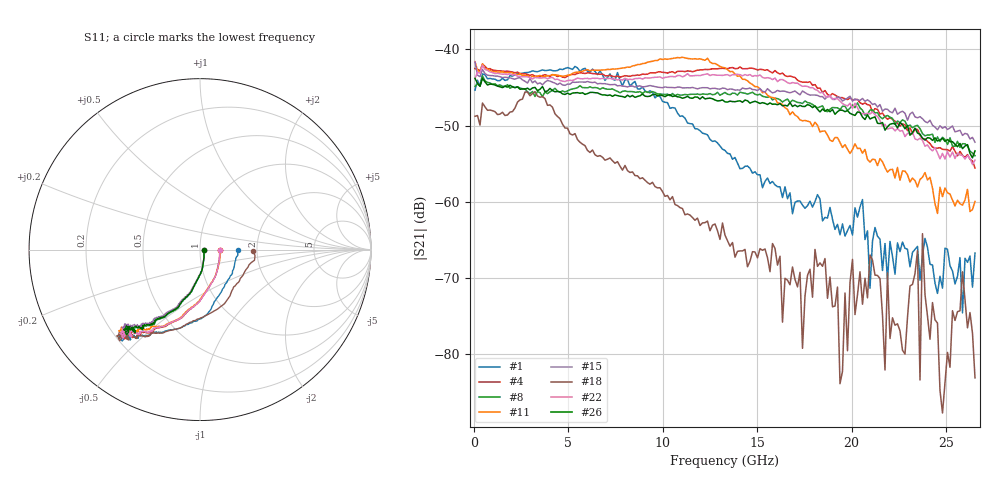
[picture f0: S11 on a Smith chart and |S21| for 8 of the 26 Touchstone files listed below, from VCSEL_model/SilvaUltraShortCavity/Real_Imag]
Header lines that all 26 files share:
!  2-Port S-parameters saved by WinCal
! VAR MeasName=S-Parameters (CALIBRATED_DATA) read from VNA (C)
! VAR PHYS_PORTS=2,1
! VAR ObjTypeName=DATASET
! VAR IndexType=Frequency
# Hz S RI R 50
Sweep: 45 MHz to 26.55 GHz
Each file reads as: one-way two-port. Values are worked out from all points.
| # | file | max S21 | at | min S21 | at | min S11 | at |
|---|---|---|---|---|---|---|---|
| 1 | M6079_2_7_3_2_20C_1.5mA_-17.5dBm.S2P | -42.23 dB | 5.345 GHz | -74.6 dB | 25.88 GHz | -13.3 dB | 575 MHz |
| 2 | M6079_2_7_3_2_20C_2.1mA_-17.5dBm.S2P | -40.38 dB | 9.32 GHz | -64.7 dB | 26.02 GHz | -15.5 dB | 45 MHz |
| 3 | M6079_2_7_3_2_20C_2.9mA_-17.5dBm.S2P | -40.57 dB | 45 MHz | -58.2 dB | 26.55 GHz | -17.0 dB | 45 MHz |
| 4 | M6079_2_7_3_2_20C_3.8mA_-17.5dBm.S2P | -41.93 dB | 442.5 MHz | -55.6 dB | 26.55 GHz | -18.8 dB | 45 MHz |
| 5 | M6079_2_7_3_2_20C_4.8mA_-17.5dBm.S2P | -41.71 dB | 442.5 MHz | -52.7 dB | 26.55 GHz | -21.0 dB | 45 MHz |
| 6 | M6079_2_7_3_2_20C_6.0mA_-17.5dBm.S2P | -40.97 dB | 45 MHz | -50.7 dB | 26.55 GHz | -23.7 dB | 45 MHz |
| 7 | M6079_2_7_3_2_20C_7.4mA_-17.5dBm.S2P | -42.61 dB | 45 MHz | -51.4 dB | 26.41 GHz | -27.4 dB | 45 MHz |
| 8 | M6079_2_7_3_2_20C_9.0mA_-17.5dBm.S2P | -43.49 dB | 442.5 MHz | -54.0 dB | 26.55 GHz | -32.9 dB | 45 MHz |
| 9 | M6079_2_7_3_3_20C_1.5mA_-17.5dBm.S2P | -42.22 dB | 4.02 GHz | -78.8 dB | 24.69 GHz | -13.6 dB | 840 MHz |
| 10 | M6079_2_7_3_3_20C_2.1mA_-17.5dBm.S2P | -40.29 dB | 8.127 GHz | -67.8 dB | 25.22 GHz | -16.8 dB | 45 MHz |
| 11 | M6079_2_7_3_3_20C_2.9mA_-17.5dBm.S2P | -41.03 dB | 11.04 GHz | -61.5 dB | 24.56 GHz | -18.5 dB | 45 MHz |
| 12 | M6079_2_7_3_3_20C_3.8mA_-17.5dBm.S2P | -41.92 dB | 442.5 MHz | -56.8 dB | 26.02 GHz | -20.7 dB | 45 MHz |
| 13 | M6079_2_7_3_3_20C_4.8mA_-17.5dBm.S2P | -41.55 dB | 45 MHz | -53.4 dB | 26.02 GHz | -23.2 dB | 45 MHz |
| 14 | M6079_2_7_3_3_20C_6.0mA_-17.5dBm.S2P | -41.86 dB | 442.5 MHz | -52.1 dB | 26.41 GHz | -26.8 dB | 45 MHz |
| 15 | M6079_2_7_3_3_20C_7.4mA_-17.5dBm.S2P | -41.65 dB | 45 MHz | -52.2 dB | 26.55 GHz | -32.6 dB | 45 MHz |
| 16 | M6079_2_7_3_3_20C_9.0mA_-17.5dBm.S2P | -43.25 dB | 442.5 MHz | -53.3 dB | 26.55 GHz | -46.8 dB | 45 MHz |
| 17 | M6079_4_7_3_2_20C_0.9mA_-17.5dBm.S2P | -49.81 dB | 442.5 MHz | -95.1 dB | 26.55 GHz | -9.8 dB | 1.502 GHz |
| 18 | M6079_4_7_3_2_20C_1.1mA_-17.5dBm.S2P | -45.55 dB | 3.225 GHz | -87.7 dB | 24.82 GHz | -10.8 dB | 1.502 GHz |
| 19 | M6079_4_7_3_2_20C_1.5mA_-17.5dBm.S2P | -42.56 dB | 5.345 GHz | -75.5 dB | 26.55 GHz | -13.2 dB | 575 MHz |
| 20 | M6079_4_7_3_2_20C_2.1mA_-17.5dBm.S2P | -40.82 dB | 9.717 GHz | -65.6 dB | 24.56 GHz | -15.3 dB | 45 MHz |
| 21 | M6079_4_7_3_2_20C_2.9mA_-17.5dBm.S2P | -42.03 dB | 12.1 GHz | -59.4 dB | 26.55 GHz | -17.0 dB | 45 MHz |
| 22 | M6079_4_7_3_2_20C_3.8mA_-17.5dBm.S2P | -42.07 dB | 442.5 MHz | -55.1 dB | 26.41 GHz | -18.7 dB | 45 MHz |
| 23 | M6079_4_7_3_2_20C_4.8mA_-17.5dBm.S2P | -41.98 dB | 442.5 MHz | -52.9 dB | 26.55 GHz | -21.0 dB | 45 MHz |
| 24 | M6079_4_7_3_2_20C_6.0mA_-17.5dBm.S2P | -41.99 dB | 442.5 MHz | -51.6 dB | 26.55 GHz | -23.8 dB | 45 MHz |
| 25 | M6079_4_7_3_2_20C_7.4mA_-17.5dBm.S2P | -42.73 dB | 442.5 MHz | -51.8 dB | 26.55 GHz | -27.5 dB | 45 MHz |
| 26 | M6079_4_7_3_2_20C_9.0mA_-17.5dBm.S2P | -43.80 dB | 442.5 MHz | -54.2 dB | 26.41 GHz | -33.4 dB | 45 MHz |
